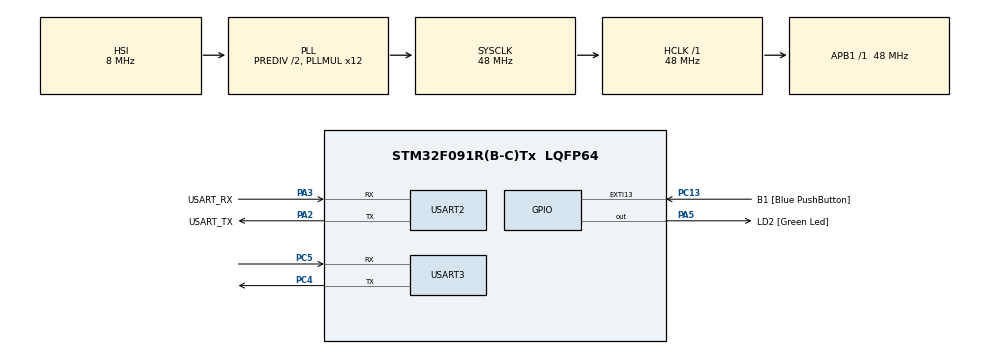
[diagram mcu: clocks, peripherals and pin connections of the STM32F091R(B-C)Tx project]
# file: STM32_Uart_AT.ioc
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Dma.Request0=USART3_RX
Dma.Request1=USART3_TX
Dma.USART3_RX.0.Direction=DMA_PERIPH_TO_MEMORY
Dma.USART3_RX.0.Instance=DMA1_Channel1
Dma.USART3_RX.0.MemDataAlignment=DMA_MDATAALIGN_BYTE
Dma.USART3_RX.0.MemInc=DMA_MINC_ENABLE
Dma.USART3_RX.0.Mode=DMA_NORMAL
Dma.USART3_RX.0.PeriphDataAlignment=DMA_PDATAALIGN_BYTE
Dma.USART3_RX.0.PeriphInc=DMA_PINC_DISABLE
Dma.USART3_RX.0.Priority=DMA_PRIORITY_LOW
Dma.USART3_TX.1.Direction=DMA_MEMORY_TO_PERIPH
Dma.USART3_TX.1.Instance=DMA1_Channel2
Dma.USART3_TX.1.MemDataAlignment=DMA_MDATAALIGN_BYTE
Dma.USART3_TX.1.MemInc=DMA_MINC_ENABLE
Dma.USART3_TX.1.Mode=DMA_NORMAL
Dma.USART3_TX.1.PeriphDataAlignment=DMA_PDATAALIGN_BYTE
Dma.USART3_TX.1.PeriphInc=DMA_PINC_DISABLE
Dma.USART3_TX.1.Priority=DMA_PRIORITY_LOW
Mcu.Family=STM32F0
Mcu.Name=STM32F091R(B-C)Tx
Mcu.Package=LQFP64
NVIC.DMA1_Ch1_IRQn=true\:0\:0\:false\:false\:true\:false\:true\:true
NVIC.DMA1_Ch2_3_DMA2_Ch1_2_IRQn=true\:0\:0\:false\:false\:true\:false\:true\:true
NVIC.USART3_8_IRQn=true\:0\:0\:false\:false\:true\:true\:true\:true
NimaLTD.I-CUBE-ATC.4.2.1.DriverJjATC=true
PA13.GPIO_Label=TMS
PA13.Mode=Serial_Wire
PA13.Signal=SYS_SWDIO
PA14.GPIO_Label=TCK
PA14.Mode=Serial_Wire
PA14.Signal=SYS_SWCLK
PA2.GPIO_Label=USART_TX
PA2.GPIO_Mode=GPIO_MODE_AF_PP
PA2.GPIO_PuPd=GPIO_NOPULL
PA2.GPIO_Speed=GPIO_SPEED_FREQ_LOW
PA2.Mode=Asynchronous
PA2.Signal=USART2_TX
PA3.GPIO_Label=USART_RX
PA3.GPIO_Mode=GPIO_MODE_AF_PP
PA3.GPIO_PuPd=GPIO_NOPULL
PA3.GPIO_Speed=GPIO_SPEED_FREQ_LOW
PA3.Mode=Asynchronous
PA3.Signal=USART2_RX
PA5.GPIO_Label=LD2 [Green Led]
PA5.GPIO_Mode=GPIO_MODE_OUTPUT_PP
PA5.GPIO_PuPd=GPIO_NOPULL
PA5.GPIO_Speed=GPIO_SPEED_FREQ_LOW
PA5.Signal=GPIO_Output
PC13.GPIO_Label=B1 [Blue PushButton]
PC13.GPIO_ModeDefaultEXTI=GPIO_MODE_IT_FALLING
PC13.Signal=GPXTI13
PC14OSC32_IN.Mode=LSE-External-Oscillator
PC14OSC32_IN.Signal=RCC_OSC32_IN
PC15OSC32_OUT.Mode=LSE-External-Oscillator
PC15OSC32_OUT.Signal=RCC_OSC32_OUT
PC4.Mode=Asynchronous
PC4.Signal=USART3_TX
PC5.Mode=Asynchronous
PC5.Signal=USART3_RX
PF0-OSC_IN.Mode=HSE-External-Clock-Source
PF0-OSC_IN.Signal=RCC_OSC_IN
PF1-OSC_OUT.Signal=RCC_OSC_OUT
ProjectManager.HeapSize=0x2000
ProjectManager.StackSize=0x400
ProjectManager.TargetToolchain=STM32CubeIDE
RCC.AHBFreq_Value=48000000
RCC.APB1Freq_Value=48000000
RCC.APB1TimFreq_Value=48000000
RCC.FLatency-AdvancedSettings=FLASH_LATENCY_1
RCC.HCLKFreq_Value=48000000
RCC.PLLDivider=RCC_PREDIV_DIV2
RCC.PLLMUL=RCC_PLL_MUL12
RCC.PREFETCH_ENABLE-AdvancedSettings=1
RCC.SYSCLKFreq_VALUE=48000000
RCC.SYSCLKSource=RCC_SYSCLKSOURCE_PLLCLK
USART2.VirtualMode=VM_ASYNC
USART2.VirtualMode-Asynchronous=VM_ASYNC
USART3.VirtualMode-Asynchronous=VM_ASYNC
VP_NimaLTD.I-CUBE-ATC_VS_DriverJjATC_1.0.0_4.2.1.Mode=DriverJjATC
board=NUCLEO-F091RC

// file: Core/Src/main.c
/* USER CODE BEGIN Header */
/**
  ******************************************************************************
  * @file           : main.c
  * @brief          : Main program body
  ******************************************************************************
  * @attention
  *
  * Copyright (c) 2024 STMicroelectronics.
  * All rights reserved.
  *
  * This software is licensed under terms that can be found in the LICENSE file
  * in the root directory of this software component.
  * If no LICENSE file comes with this software, it is provided AS-IS.
  *
  ******************************************************************************
  */
/* USER CODE END Header */
#include "main.h"
#include "dma.h"
#include "usart.h"
#include "gpio.h"

/* USER CODE BEGIN Includes */
#include "atc.h"
/* USER CODE END Includes */

/* USER CODE BEGIN PV */
#define RX_BUFFER_SIZE 512
#define TX_BUFFER_SIZE 512

char rx_buffer[RX_BUFFER_SIZE];
char tx_buffer[TX_BUFFER_SIZE];

UART_HandleTypeDef huart3;
ATC_HandleTypeDef esp32;  // ESP32 için ATC yapılandırması
/* USER CODE END PV */

void SystemClock_Config(void);

/* USER CODE BEGIN 0 */
void HAL_UARTEx_RxEventCallback(UART_HandleTypeDef *huart, uint16_t Size)
{
	if (huart->Instance == USART3)
	{
		ATC_IdleLineCallback(&esp32, Size);
	}
}
/* USER CODE END 0 */

int main(void)
{

  /* MCU Configuration--------------------------------------------------------*/

  /* Reset of all peripherals, Initializes the Flash interface and the Systick. */
  HAL_Init();

  /* Configure the system clock */
  SystemClock_Config();

  /* Initialize all configured peripherals */
  MX_GPIO_Init();
  MX_DMA_Init();
  MX_USART2_UART_Init();
  MX_USART3_UART_Init();
  /* USER CODE BEGIN 2 */
  // ATC yapılandırmasını başlat
  ATC_Init(&esp32, &huart3, RX_BUFFER_SIZE, "ESP32");
  // Wi-Fi Bağlantısı Kurma
  ATC_SendReceive(&esp32, "AT+RST\r\n", 100, NULL, 100, 2, "\r\nOK\r\n", "\r\nERROR\r\n");
  HAL_Delay(3000);
  ATC_SendReceive(&esp32, "AT+CWQAP\r\n", 100, NULL, 100, 2, "\r\nOK\r\n", "\r\nERROR\r\n");
  HAL_Delay(3000);
  ATC_SendReceive(&esp32, "AT+CWSTATE?\r\n", 100, NULL, 100, 3, "\r\n0\r\n", "\r\n1\r\n", "\r\n2\r\n");
  HAL_Delay(3000);
  ATC_SendReceive(&esp32, "AT+CWMODE=1\r\n", 100, NULL, 100, 2, "\r\nOK\r\n", "\r\nERROR\r\n");
  HAL_Delay(3000);
  ATC_SendReceive(&esp32, "AT+CWJAP=\"FiberHGW_ZYB82A\",\"N3THkAdYRCPF\"\r\n", 100, NULL, 100, 2, "\r\nOK\r\n", "\r\nERROR\r\n");
  HAL_Delay(3000);
  ATC_SendReceive(&esp32, "AT+CWJAP?\r\n", 100, NULL, 100, 2, "\r\nOK\r\n", "\r\nERROR\r\n");
  /* USER CODE END 2 */

  /* Infinite loop */
  while (1)
  {

  }
}

void SystemClock_Config(void)
{
  RCC_OscInitTypeDef RCC_OscInitStruct = {0};
  RCC_ClkInitTypeDef RCC_ClkInitStruct = {0};
  RCC_PeriphCLKInitTypeDef PeriphClkInit = {0};

  /** Initializes the RCC Oscillators according to the specified parameters
  * in the RCC_OscInitTypeDef structure.
  */
  RCC_OscInitStruct.OscillatorType = RCC_OSCILLATORTYPE_HSI;
  RCC_OscInitStruct.HSIState = RCC_HSI_ON;
  RCC_OscInitStruct.HSICalibrationValue = RCC_HSICALIBRATION_DEFAULT;
  RCC_OscInitStruct.PLL.PLLState = RCC_PLL_ON;
  RCC_OscInitStruct.PLL.PLLSource = RCC_PLLSOURCE_HSI;
  RCC_OscInitStruct.PLL.PLLMUL = RCC_PLL_MUL12;
  RCC_OscInitStruct.PLL.PREDIV = RCC_PREDIV_DIV2;
  if (HAL_RCC_OscConfig(&RCC_OscInitStruct) != HAL_OK)
  {
    Error_Handler();
  }

  /** Initializes the CPU, AHB and APB buses clocks
  */
  RCC_ClkInitStruct.ClockType = RCC_CLOCKTYPE_HCLK|RCC_CLOCKTYPE_SYSCLK
                              |RCC_CLOCKTYPE_PCLK1;
  RCC_ClkInitStruct.SYSCLKSource = RCC_SYSCLKSOURCE_PLLCLK;
  RCC_ClkInitStruct.AHBCLKDivider = RCC_SYSCLK_DIV1;
  RCC_ClkInitStruct.APB1CLKDivider = RCC_HCLK_DIV1;

  if (HAL_RCC_ClockConfig(&RCC_ClkInitStruct, FLASH_LATENCY_1) != HAL_OK)
  {
    Error_Handler();
  }
  PeriphClkInit.PeriphClockSelection = RCC_PERIPHCLK_USART3|RCC_PERIPHCLK_USART2;
  PeriphClkInit.Usart2ClockSelection = RCC_USART2CLKSOURCE_PCLK1;
  PeriphClkInit.Usart3ClockSelection = RCC_USART3CLKSOURCE_PCLK1;
  if (HAL_RCCEx_PeriphCLKConfig(&PeriphClkInit) != HAL_OK)
  {
    Error_Handler();
  }
}

void Error_Handler(void)
{
  __disable_irq();
  while (1)
  {
  }
}
